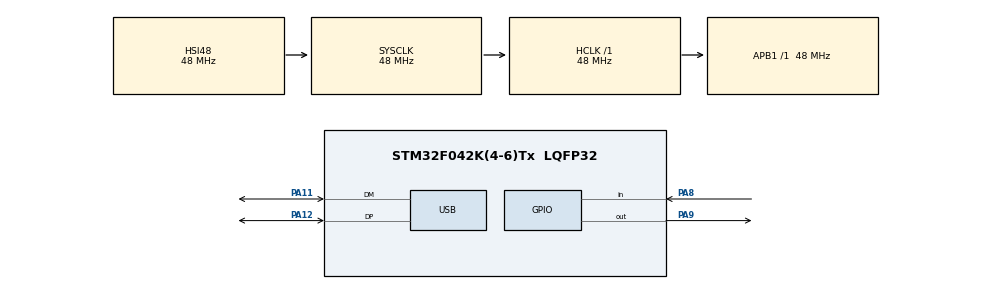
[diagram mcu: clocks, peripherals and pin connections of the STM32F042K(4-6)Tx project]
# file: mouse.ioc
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Mcu.Family=STM32F0
Mcu.Name=STM32F042K(4-6)Tx
Mcu.Package=LQFP32
NVIC.TIM14_IRQn=true\:0\:0\:false\:false\:true\:true\:true
NVIC.USB_IRQn=true\:0\:0\:false\:false\:true\:false\:true
PA11.Mode=Device
PA11.Signal=USB_DM
PA12.Mode=Device
PA12.Signal=USB_DP
PA13.Mode=Serial_Wire
PA13.Signal=SYS_SWDIO
PA14.Mode=Serial_Wire
PA14.Signal=SYS_SWCLK
PA8.GPIO_PuPd=GPIO_PULLUP
PA8.Signal=GPIO_Input
PA9.Signal=GPIO_Output
ProjectManager.HeapSize=0x200
ProjectManager.StackSize=0x400
ProjectManager.TargetToolchain=STM32CubeIDE
RCC.AHBFreq_Value=48000000
RCC.APB1Freq_Value=48000000
RCC.APB1TimFreq_Value=48000000
RCC.HCLKFreq_Value=48000000
RCC.SYSCLKFreq_VALUE=48000000
RCC.SYSCLKSource=RCC_SYSCLKSOURCE_HSI48
TIM14.Period=1000-1
TIM14.Prescaler=48-1
USB_DEVICE.CLASS_NAME_FS=HID
USB_DEVICE.VirtualMode=Hid
USB_DEVICE.VirtualModeFS=Hid_FS
VP_RCC_USB.Mode=CRS SYNC Source USB
VP_TIM14_VS_ClockSourceINT.Mode=Enable_Timer
VP_USB_DEVICE_VS_USB_DEVICE_HID_FS.Mode=HID_FS
board=custom

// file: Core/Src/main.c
/* USER CODE BEGIN Header */
/**
  ******************************************************************************
  * @file           : main.c
  * @brief          : Main program body
  ******************************************************************************
  * @attention
  *
  * <h2><center>&copy; Copyright (c) 2020 STMicroelectronics.
  * All rights reserved.</center></h2>
  *
  * This software component is licensed by ST under BSD 3-Clause license,
  * the "License"; You may not use this file except in compliance with the
  * License. You may obtain a copy of the License at:
  *                        opensource.org/licenses/BSD-3-Clause
  *
  ******************************************************************************
  */
/* USER CODE END Header */

#include "main.h"
#include "tim.h"
#include "usb_device.h"
#include "gpio.h"

/* USER CODE BEGIN PV */
static volatile uint8_t interrupt;

/* USER CODE END PV */

void SystemClock_Config(void);

int main(void)
{
  /* USER CODE BEGIN 1 */
	struct mouseHID_t {
	uint8_t buttons;
	int8_t x;
	int8_t y;
	int8_t wheel;
	};
	struct mouseHID_t mouseHID;

  /* USER CODE END 1 */

  /* MCU Configuration--------------------------------------------------------*/

  /* Reset of all peripherals, Initializes the Flash interface and the Systick. */
  HAL_Init();

  /* Configure the system clock */
  SystemClock_Config();

  /* Initialize all configured peripherals */
  MX_GPIO_Init();
  MX_TIM14_Init();
  MX_USB_DEVICE_Init();
  /* USER CODE BEGIN 2 */
	interrupt = 0;
	mouseHID.buttons = 0;
	mouseHID.x = 0;
	mouseHID.y = 0;
	mouseHID.wheel = 0;
	USBD_HID_SendReport(&hUsbDeviceFS, &mouseHID, sizeof(struct mouseHID_t));

  /* USER CODE END 2 */

  /* Infinite loop */
  while (1)
  {

    /* USER CODE BEGIN 3 */
	  if(HAL_GPIO_ReadPin(GPIOA, GPIO_PIN_8)==0){
		  mouseHID.buttons = 0b001; //左クリ?��?ク
		  USBD_HID_SendReport(&hUsbDeviceFS, &mouseHID, sizeof(struct mouseHID_t));
		  HAL_GPIO_TogglePin(GPIOA, GPIO_PIN_9);
		  HAL_Delay(50);
		  mouseHID.buttons = 0b000; //左クリ?��?ク
		  USBD_HID_SendReport(&hUsbDeviceFS, &mouseHID, sizeof(struct mouseHID_t));
		  HAL_GPIO_TogglePin(GPIOA, GPIO_PIN_9);
		  HAL_Delay(50);
	  }
  }
  /* USER CODE END 3 */
}

void SystemClock_Config(void)
{
  RCC_OscInitTypeDef RCC_OscInitStruct = {0};
  RCC_ClkInitTypeDef RCC_ClkInitStruct = {0};
  RCC_PeriphCLKInitTypeDef PeriphClkInit = {0};
  RCC_CRSInitTypeDef RCC_CRSInitStruct = {0};

  /** Initializes the CPU, AHB and APB busses clocks
  */
  RCC_OscInitStruct.OscillatorType = RCC_OSCILLATORTYPE_HSI48;
  RCC_OscInitStruct.HSI48State = RCC_HSI48_ON;
  RCC_OscInitStruct.PLL.PLLState = RCC_PLL_NONE;
  if (HAL_RCC_OscConfig(&RCC_OscInitStruct) != HAL_OK)
  {
    Error_Handler();
  }
  /** Initializes the CPU, AHB and APB busses clocks
  */
  RCC_ClkInitStruct.ClockType = RCC_CLOCKTYPE_HCLK|RCC_CLOCKTYPE_SYSCLK
                              |RCC_CLOCKTYPE_PCLK1;
  RCC_ClkInitStruct.SYSCLKSource = RCC_SYSCLKSOURCE_HSI48;
  RCC_ClkInitStruct.AHBCLKDivider = RCC_SYSCLK_DIV1;
  RCC_ClkInitStruct.APB1CLKDivider = RCC_HCLK_DIV1;

  if (HAL_RCC_ClockConfig(&RCC_ClkInitStruct, FLASH_LATENCY_1) != HAL_OK)
  {
    Error_Handler();
  }
  PeriphClkInit.PeriphClockSelection = RCC_PERIPHCLK_USB;
  PeriphClkInit.UsbClockSelection = RCC_USBCLKSOURCE_HSI48;

  if (HAL_RCCEx_PeriphCLKConfig(&PeriphClkInit) != HAL_OK)
  {
    Error_Handler();
  }
  /** Enable the SYSCFG APB clock
  */
  __HAL_RCC_CRS_CLK_ENABLE();
  /** Configures CRS
  */
  RCC_CRSInitStruct.Prescaler = RCC_CRS_SYNC_DIV1;
  RCC_CRSInitStruct.Source = RCC_CRS_SYNC_SOURCE_USB;
  RCC_CRSInitStruct.Polarity = RCC_CRS_SYNC_POLARITY_RISING;
  RCC_CRSInitStruct.ReloadValue = __HAL_RCC_CRS_RELOADVALUE_CALCULATE(48000000,1000);
  RCC_CRSInitStruct.ErrorLimitValue = 34;
  RCC_CRSInitStruct.HSI48CalibrationValue = 32;

  HAL_RCCEx_CRSConfig(&RCC_CRSInitStruct);
}

void Error_Handler(void)
{
}

/************************ (C) COPYRIGHT STMicroelectronics *****END OF FILE****/
